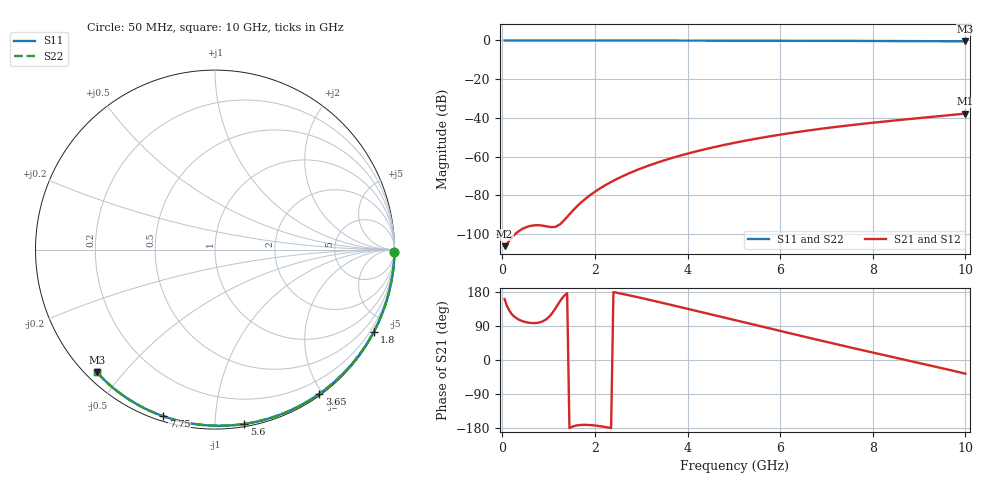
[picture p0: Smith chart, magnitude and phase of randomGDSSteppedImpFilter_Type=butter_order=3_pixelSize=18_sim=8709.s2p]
! freq	dB(S11)	phase(S11)	dB(S12)	phase(S12)
!  dB(S21)	phase(S21)	dB(S22)	phase(S22)
!S-par simulation data
#  GHz  S  DB  R 50
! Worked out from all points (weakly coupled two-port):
!   200 points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, 50 MHz to 10 GHz, reference 50 ohm
!   highest |S21| = -37.82 dB at 10 GHz (marker M1); lowest = -106.4 dB at 50 MHz (marker M2)
!   lowest |S11| = -0.5 dB at 10 GHz (marker M3), VSWR 38.24, Z = 1.54 - j21.2 ohm
!   |S11| at or under -10 dB: nowhere
!   |S22| runs from -0.5 to 0.0 dB; largest |S21 - S12| = 0
!   S11 on the Smith chart (normalised r, x): 50 MHz: open; 1.8 GHz: 0.04, -4.11; 3.65 GHz: 0.02, -1.96; 5.6 GHz: 0.02, -1.18; 7.75 GHz: 0.02, -0.74; 10 GHz: 0.03, -0.42
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0.05  -0.00 -0.8  -106.36 160.9  -106.36 160.9  -0.00 -0.8
0.45  -0.01 -6.9  -97.25 101.9  -97.25 101.9  -0.01 -6.9
0.9  -0.02 -13.8  -95.87 103.8  -95.87 103.8  -0.02 -13.8
1.75  -0.03 -26.6  -82.78 -171.1  -82.78 -171.1  -0.03 -26.6
1.8  -0.03 -27.3  -81.78 -171.1  -81.78 -171.1  -0.03 -27.3
1.9  -0.04 -28.8  -79.92 -171.7  -79.92 -171.7  -0.04 -28.8
2.05  -0.04 -31.0  -77.41 -173.6  -77.41 -173.6  -0.04 -31.0
2.25  -0.04 -34.0  -74.47 -177.4  -74.47 -177.4  -0.04 -34.0
2.45  -0.05 -36.9  -71.90 178.1  -71.90 178.1  -0.05 -36.9
2.65  -0.05 -39.8  -69.61 173.1  -69.61 173.1  -0.05 -39.8
3  -0.06 -44.9  -66.13 163.7  -66.13 163.7  -0.06 -44.9
3.4  -0.07 -50.6  -62.74 152.4  -62.74 152.4  -0.07 -50.6
3.65  -0.07 -54.1  -60.88 145.3  -60.88 145.3  -0.07 -54.1
4.3  -0.09 -63.2  -56.68 126.4  -56.68 126.4  -0.09 -63.2
5.05  -0.11 -73.3  -52.74 104.4  -52.74 104.4  -0.11 -73.3
5.6  -0.13 -80.5  -50.29 88.3  -50.29 88.3  -0.13 -80.5
6.15  -0.15 -87.6  -48.14 72.3  -48.14 72.3  -0.16 -87.6
6.7  -0.18 -94.5  -46.25 56.4  -46.25 56.4  -0.18 -94.5
7.75  -0.25 -107.3  -43.19 26.6  -43.19 26.6  -0.25 -107.3
8.35  -0.29 -114.5  -41.67 10.0  -41.67 10.0  -0.29 -114.5
9.15  -0.36 -124.0  -39.78 -12.0  -39.78 -12.0  -0.36 -124.0
10  -0.45 -134.0  -37.82 -36.1  -37.82 -36.1  -0.45 -134.0
